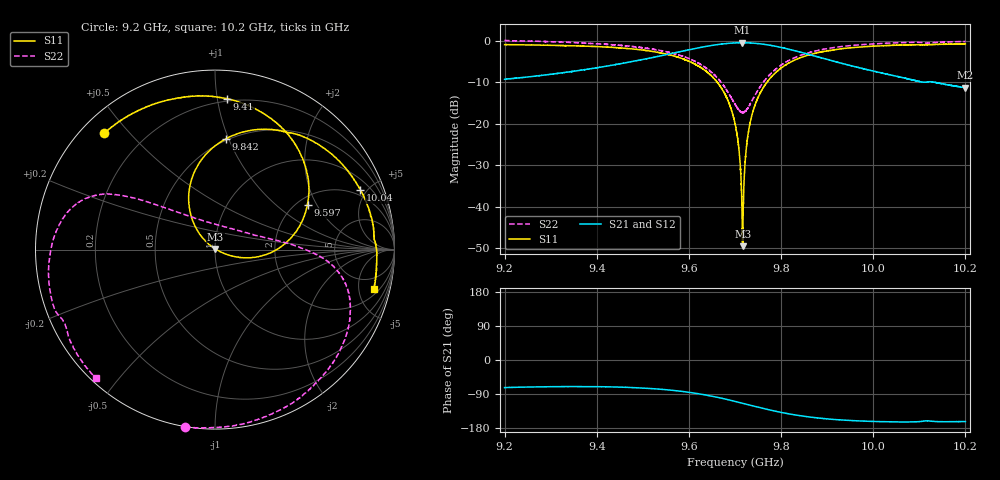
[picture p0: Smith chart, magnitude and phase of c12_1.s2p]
!Agilent Technologies,N5242A,MY51221714,A.09.90.19
!Agilent N5242A: A.09.90.19
!Date: Tuesday, March 26, 2024 15:34:56
!Correction: S11(Full 2 Port(1,2))
!S21(Full 2 Port(1,2))
!S12(Full 2 Port(1,2))
!S22(Full 2 Port(1,2))
!S2P File: Measurements: S11, S21, S12, S22:
# Hz S  dB  R 50
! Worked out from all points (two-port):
!   16001 points, 9.2 GHz to 10.2 GHz, reference 50 ohm
!   highest |S21| = -0.50 dB at 9.716 GHz (marker M1); lowest = -11.3 dB at 10.2 GHz (marker M2)
!   |S21| within 3 dB of the highest: 9.544858 GHz to 9.544947 GHz (88.5 kHz wide, 0.000927 % of centre); 9.545 GHz to 9.866 GHz (321.1 MHz wide, 3.31 % of centre)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
!   lowest |S11| = -49.4 dB at 9.717 GHz (marker M3), VSWR 1.01, Z = 50.1 + j0.308 ohm
!   |S11| at or under -10 dB: 9.661373 GHz to 9.661377 GHz (3.407 kHz wide, 3.53e-05 % of centre); 9.661 GHz to 9.77 GHz (108.1 MHz wide, 1.11 % of centre)
!   |S22| runs from -17.4 to 0.0 dB; largest |S21 - S12| = 0.011
!   S11 on the Smith chart (normalised r, x): 9.2 GHz: 0.07, +0.43; 9.41 GHz: 0.18, +1.07; 9.597 GHz: 2.26, +1.69; 9.842 GHz: 0.49, +0.98; 10.04 GHz: 1.61, +4.54; 10.2 GHz: 2.74, -7.14
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9.2e9  -0.96 133.5  -9.29 -72.8  -9.26 -73.4  0.02 -99.5
9.366688e9  -1.30 96.1  -7.11 -70.1  -7.10 -70.7  -0.58 -54.8
9.409812e9  -1.49 85.4  -6.35 -70.5  -6.34 -71.2  -0.81 -43.9
9.533375e9  -2.86 49.4  -3.79 -76.7  -3.78 -77.2  -2.26 -16.4
9.59725e9  -4.83 25.8  -2.27 -84.8  -2.27 -85.3  -4.20 -5.2
9.663938e9  -10.37 -4.0  -0.93 -99.0  -0.93 -99.5  -9.25 8.4
9.7e9  -19.90 -20.9  -0.55 -109.2  -0.54 -109.7  -15.25 37.3
9.707312e9  -25.02 -22.0  -0.53 -111.5  -0.52 -112.0  -16.53 51.1
9.71325e9  -33.65 -19.7  -0.52 -113.3  -0.51 -113.8  -17.15 65.5
9.71625e9  -46.77 36.7  -0.50 -114.2  -0.50 -114.7  -17.25 73.0
9.716688e9  -49.45 65.9  -0.52 -114.3  -0.51 -114.8  -17.34 74.5
9.719562e9  -34.08 135.4  -0.52 -115.2  -0.51 -115.6  -17.19 81.9
9.729e9  -22.06 137.5  -0.54 -118.1  -0.53 -118.6  -16.04 104.3
9.748062e9  -14.16 128.4  -0.69 -123.9  -0.70 -124.4  -12.24 129.1
9.785625e9  -7.97 109.6  -1.31 -134.6  -1.31 -135.1  -7.14 143.9
9.841562e9  -4.13 84.3  -2.75 -146.9  -2.76 -147.5  -3.57 152.2
9.866688e9  -3.25 74.2  -3.51 -151.2  -3.51 -151.6  -2.71 155.6
9.934375e9  -1.92 51.0  -5.54 -158.5  -5.55 -159.0  -1.38 166.6
1.003338e10  -1.18 23.4  -8.16 -163.0  -8.15 -163.5  -0.60 -173.4
1.003825e10  -1.16 22.2  -8.29 -163.1  -8.27 -163.6  -0.57 -172.4
1.019988e10  -0.81 -13.8  -11.33 -162.4  -11.33 -162.8  -0.21 -133.0
1.02e10  -0.80 -14.0  -11.32 -162.4  -11.34 -162.8  -0.22 -132.9
